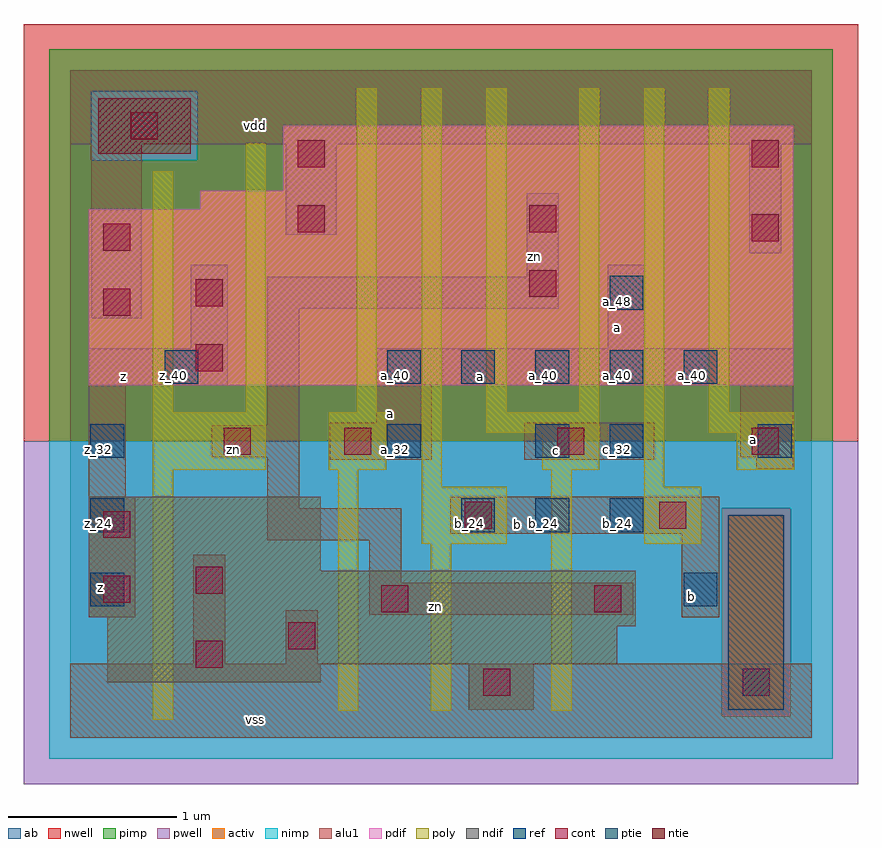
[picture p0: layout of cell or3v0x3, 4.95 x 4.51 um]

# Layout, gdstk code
import gdstk
lib = gdstk.Library(unit=1e-6, precision=2.5e-09)
def R(c, l, rs):  # rectangles x0, y0, x1, y1
    for r in rs: c.add(gdstk.rectangle(r[:2], r[2:], *l))
def A(c, l, x, y, w, h, nx, ny, dx, dy):  # array of equal rectangles
    R(c, l, [(x+i*dx, y+j*dy, x+i*dx+w, y+j*dy+h) for i in range(nx) for j in range(ny)])
ndif = (3, 0)
pdif = (4, 0)
ntie = (5, 0)
ptie = (6, 0)
ref = (24, 0)
cont = (25, 0)
pwell = (41, 0)
nwell = (42, 0)
activ = (43, 0)
pimp = (44, 0)
nimp = (45, 0)
poly = (46, 0)
alu1 = (49, 0)
ab = (63, 0)

or3v0x3 = lib.new_cell('or3v0x3')
R(or3v0x3, ndif, [(2.365,0.165,2.75,0.44), (0.22,0.33,1.485,0.44), (0.22,0.44,3.245,0.66), (0.22,0.66,3.355,0.715), (0.11,0.715,3.355,0.99), (0.11,0.99,1.485,1.43)])
R(or3v0x3, pdif, [(0.11,2.09,4.29,3.135), (0.77,3.135,4.29,3.245), (1.265,3.245,4.29,3.63)])
R(or3v0x3, ntie, [(0.165,3.465,0.715,3.795)])
R(or3v0x3, ptie, [(3.905,0.165,4.235,1.32)])
A(or3v0x3, ref, 0.12, 0.78, 0.2, 0.2, 1, 3, 0, 0.44)
A(or3v0x3, ref, 2.32, 1.22, 0.2, 0.2, 3, 1, 0.44, 0)
A(or3v0x3, ref, 1.88, 2.1, 0.2, 0.2, 5, 1, 0.44, 0)
R(or3v0x3, ref, [(3.64,0.78,3.84,0.98), (1.88,1.66,2.08,1.86), (2.76,1.66,2.96,1.86), (3.2,1.66,3.4,1.86), (4.08,1.66,4.28,1.86), (0.56,2.1,0.76,2.3), (3.2,2.54,3.4,2.74)])
R(or3v0x3, cont, [(2.45,0.25,2.61,0.41), (3.99,0.25,4.15,0.41), (0.745,0.415,0.905,0.575), (1.295,0.525,1.455,0.685), (1.845,0.745,2.005,0.905), (3.11,0.745,3.27,0.905), (0.195,0.8,0.355,0.96), (0.745,0.855,0.905,1.015), (0.195,1.185,0.355,1.345), (2.34,1.24,2.5,1.4), (3.495,1.24,3.655,1.4), (0.91,1.68,1.07,1.84), (1.625,1.68,1.785,1.84), (2.89,1.68,3.05,1.84), (4.045,1.68,4.205,1.84), (0.745,2.175,0.905,2.335), (0.195,2.505,0.355,2.665), (0.745,2.56,0.905,2.72), (2.725,2.615,2.885,2.775), (0.195,2.89,0.355,3.05), (4.045,2.945,4.205,3.105), (1.35,3,1.51,3.16), (2.725,3,2.885,3.16), (1.35,3.385,1.51,3.545), (4.045,3.385,4.205,3.545), (0.36,3.55,0.52,3.71)])
R(or3v0x3, pwell, [(-0.275,-0.275,4.675,1.76)])
R(or3v0x3, nwell, [(-0.275,1.76,4.675,4.235)])
R(or3v0x3, activ, [(2.365,0.165,2.75,0.44), (3.905,0.165,4.235,1.32), (0.22,0.33,1.485,0.44), (0.22,0.44,3.245,0.66), (0.22,0.66,3.355,0.715), (0.11,0.715,3.355,0.99), (0.11,0.99,1.485,1.43), (0.11,2.09,4.29,3.135), (0.77,3.135,4.29,3.245), (1.265,3.245,4.29,3.63), (0.165,3.465,0.715,3.795)])
R(or3v0x3, pimp, [(3.865,0.125,4.275,1.36), (-0.125,1.76,4.525,3.425), (-0.125,3.425,0.125,3.835), (0.755,3.425,4.525,3.835), (-0.125,3.835,4.525,4.085)])
R(or3v0x3, nimp, [(-0.125,-0.125,4.525,0.125), (-0.125,0.125,3.865,1.36), (4.275,0.125,4.525,1.36), (-0.125,1.36,4.525,1.76), (0.125,3.425,0.755,3.835)])
R(or3v0x3, poly, [(0.49,0.105,0.61,1.59), (1.59,0.16,1.71,1.59), (2.14,0.16,2.26,1.15), (2.855,0.16,2.975,1.59), (2.085,1.15,2.59,1.49), (3.405,1.15,3.745,1.49), (2.085,1.49,2.205,3.855), (3.405,1.49,3.525,3.855), (0.49,1.59,1.16,1.93), (1.535,1.59,1.875,1.93), (2.8,1.59,3.14,1.81), (3.955,1.59,4.295,1.81), (2.47,1.81,3.14,1.93), (3.79,1.81,4.295,1.93), (0.49,1.93,0.61,3.36), (1.04,1.93,1.16,3.525), (1.7,1.93,1.82,3.855), (2.47,1.93,2.59,3.855), (3.02,1.93,3.14,3.855), (3.79,1.93,3.91,3.855)])
R(or3v0x3, alu1, [(0,0,4.4,0.44), (0.73,0.44,0.92,1.085), (1.28,0.44,1.47,0.755), (0.11,0.715,0.385,1.43), (3.63,0.715,3.85,1.21), (1.775,0.73,3.34,0.92), (1.775,0.92,1.965,1.17), (1.17,1.17,1.965,1.36), (2.255,1.21,3.85,1.43), (1.17,1.36,1.36,1.665), (0.11,1.43,0.33,2.09), (4.07,1.595,4.29,1.665), (1.54,1.65,2.145,1.87), (2.695,1.65,3.465,1.87), (0.84,1.665,1.36,1.855), (3.975,1.665,4.29,2.09), (1.17,1.855,1.36,2.545), (1.815,1.87,2.145,2.09), (0.11,2.09,0.935,2.31), (1.815,2.09,4.29,2.31), (0.715,2.31,0.935,2.805), (3.19,2.31,3.41,2.805), (0.125,2.49,0.425,3.52), (1.17,2.545,2.9,2.735), (2.71,2.735,2.9,3.23), (4.03,2.875,4.22,3.52), (1.28,2.985,1.58,3.52), (0,3.52,4.4,3.96)])
R(or3v0x3, ab, [(0,0,4.4,3.96)])
or3v0x3.add(gdstk.Label('vss', (1.1,0.11), layer=49, texttype=0))
or3v0x3.add(gdstk.Label('b', (3.685,0.8375), layer=49, texttype=0))
or3v0x3.add(gdstk.Label('zn', (2.165,0.7775), layer=49, texttype=0))
or3v0x3.add(gdstk.Label('b', (2.6525,1.265), layer=49, texttype=0))
or3v0x3.add(gdstk.Label('a', (4.0525,1.77), layer=49, texttype=0))
or3v0x3.add(gdstk.Label('c', (2.8875,1.705), layer=49, texttype=0))
or3v0x3.add(gdstk.Label('z', (0.1775,0.8925), layer=49, texttype=0))
or3v0x3.add(gdstk.Label('zn', (0.97,1.7125), layer=49, texttype=0))
or3v0x3.add(gdstk.Label('a', (1.8975,1.925), layer=49, texttype=0))
or3v0x3.add(gdstk.Label('a', (2.4325,2.145), layer=49, texttype=0))
or3v0x3.add(gdstk.Label('a', (3.245,2.4325), layer=49, texttype=0))
or3v0x3.add(gdstk.Label('z', (0.315,2.145), layer=49, texttype=0))
or3v0x3.add(gdstk.Label('zn', (2.7575,2.8575), layer=49, texttype=0))
or3v0x3.add(gdstk.Label('vdd', (1.1,3.63), layer=49, texttype=0))
or3v0x3.add(gdstk.Label('z_40', (0.61,2.15), layer=24, texttype=0))
or3v0x3.add(gdstk.Label('a_32', (1.93,1.71), layer=24, texttype=0))
or3v0x3.add(gdstk.Label('a_40', (1.93,2.15), layer=24, texttype=0))
or3v0x3.add(gdstk.Label('z_16', (0.17,0.83), layer=24, texttype=0))
or3v0x3.add(gdstk.Label('z_24', (0.17,1.27), layer=24, texttype=0))
or3v0x3.add(gdstk.Label('z_32', (0.17,1.71), layer=24, texttype=0))
or3v0x3.add(gdstk.Label('b_24', (2.37,1.27), layer=24, texttype=0))
or3v0x3.add(gdstk.Label('a_40', (2.37,2.15), layer=24, texttype=0))
or3v0x3.add(gdstk.Label('b_24', (2.81,1.27), layer=24, texttype=0))
or3v0x3.add(gdstk.Label('c_32', (2.81,1.71), layer=24, texttype=0))
or3v0x3.add(gdstk.Label('a_40', (2.81,2.15), layer=24, texttype=0))
or3v0x3.add(gdstk.Label('b_24', (3.25,1.27), layer=24, texttype=0))
or3v0x3.add(gdstk.Label('c_32', (3.25,1.71), layer=24, texttype=0))
or3v0x3.add(gdstk.Label('a_40', (3.25,2.15), layer=24, texttype=0))
or3v0x3.add(gdstk.Label('a_48', (3.25,2.59), layer=24, texttype=0))
or3v0x3.add(gdstk.Label('b_16', (3.69,0.83), layer=24, texttype=0))
or3v0x3.add(gdstk.Label('a_40', (3.69,2.15), layer=24, texttype=0))
or3v0x3.add(gdstk.Label('a_32', (4.13,1.71), layer=24, texttype=0))

lib.write_gds('or3v0x3.gds')
